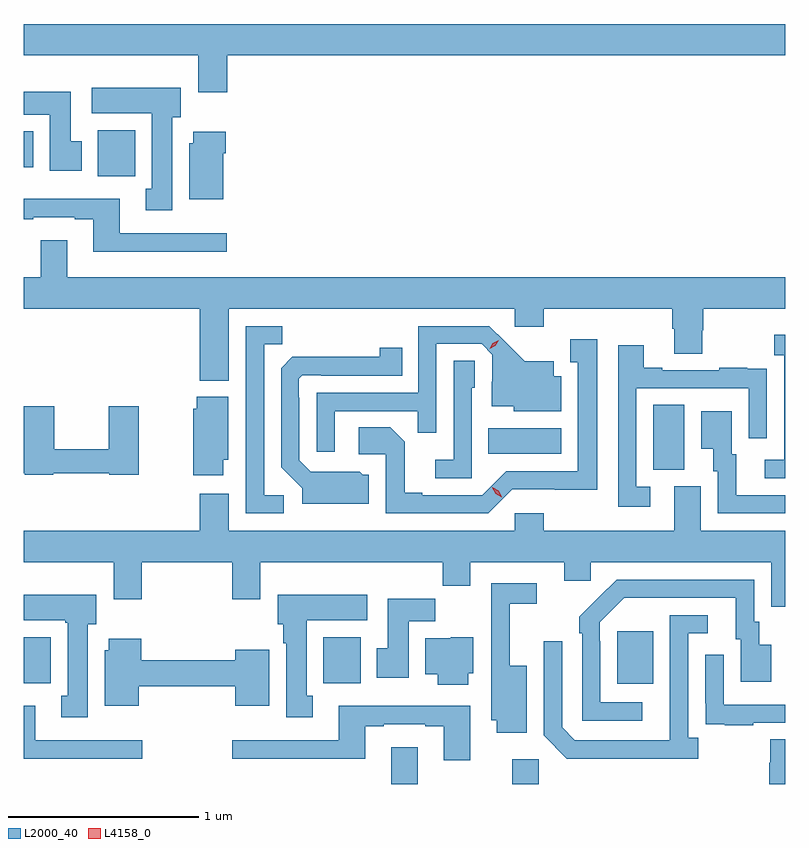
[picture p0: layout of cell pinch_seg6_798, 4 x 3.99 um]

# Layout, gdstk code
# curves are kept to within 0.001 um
import gdstk
lib = gdstk.Library(unit=1e-6, precision=1e-09)
def R(c, l, rs):  # rectangles x0, y0, x1, y1
    for r in rs: c.add(gdstk.rectangle(r[:2], r[2:], *l))
def P(c, l, *ps):  # polygons
    for p in ps: c.add(gdstk.Polygon(p, *l))
L2000_40 = (2000, 40)
L4158_0 = (4158, 0)

pinch_seg6_798 = lib.new_cell('pinch_seg6_798')
R(pinch_seg6_798, L2000_40, [(149.735,970.146,149.875,970.339), (150.371,970.146,150.51,970.276), (150.923,970.673,151.111,970.948), (147.805,970.676,147.946,970.918), (149.378,970.676,149.575,970.918), (151.112,971.797,151.276,972.14), (150.244,971.882,150.628,972.016), (148.193,973.34,148.39,973.582), (147.805,973.388,147.853,973.576)])
P(pinch_seg6_798, L2000_40, [(148.874,973.976),(151.805,973.976),(151.805,974.14),(147.805,974.14),(147.805,973.976),(148.721,973.976),(148.721,973.782),(148.874,973.782)],
  [(148.585,973.65),(148.63,973.65),(148.63,973.804),(148.161,973.804),(148.161,973.67),(148.478,973.67),(148.478,973.274),(148.445,973.274),(148.445,973.161),(148.585,973.161)],
  [(148.108,973.524),(148.051,973.524),(148.051,973.783),(147.805,973.783),(147.805,973.664),(147.941,973.664),(147.941,973.368),(148.108,973.368)],
  [(148.852,973.46),(148.865,973.46),(148.865,973.573),(148.694,973.573),(148.694,973.512),(148.673,973.512),(148.673,973.22),(148.852,973.22)],
  [(148.87,973.041),(148.309,973.041),(148.309,973.222),(147.805,973.222),(147.805,973.113),(147.853,973.113),(147.853,973.125),(148.073,973.125),(148.073,973.113),(148.169,973.113),(148.169,972.944),(148.87,972.944)],
  [(148.882,972.644),(150.384,972.644),(150.384,972.549),(150.536,972.549),(150.536,972.644),(151.211,972.644),(151.211,972.538),(151.223,972.538),(151.223,972.406),(151.371,972.406),(151.371,972.531),(151.376,972.531),(151.376,972.644),(151.805,972.644),(151.805,972.808),(148.033,972.808),(148.033,973.003),(147.893,973.003),(147.893,972.808),(147.805,972.808),(147.805,972.644),(148.73,972.644),(148.73,972.266),(148.882,972.266)],
  [(149.17,971.664),(149.067,971.664),(149.067,972.457),(149.163,972.457),(149.163,972.552),(148.971,972.552),(148.971,971.568),(149.17,971.568)],
  [(149.439,972.105),(149.875,972.105),(149.875,971.992),(149.973,971.992),(149.973,972.459),(150.21,972.459),(150.267,972.402),(150.267,972.26),(150.263,972.26),(150.263,972.131),(150.378,972.131),(150.378,972.104),(150.628,972.104),(150.628,972.289),(150.589,972.289),(150.589,972.367),(150.437,972.367),(150.25,972.552),(149.877,972.552),(149.877,972.201),(149.343,972.201),(149.343,971.892),(149.439,971.892)],
  [(151.805,972.508),(151.749,972.508),(151.749,972.398),(151.8,972.398),(151.8,971.85),(151.698,971.85),(151.698,971.754),(151.805,971.754)],
  [(150.372,971.694),(150.817,971.693),(150.817,972.484),(150.677,972.484),(150.677,972.363),(150.716,972.363),(150.716,971.79),(150.339,971.79),(150.213,971.664),(149.899,971.664),(149.899,971.677),(149.805,971.677),(149.805,971.944),(149.729,972.02),(149.565,972.02),(149.565,971.88),(149.706,971.88),(149.706,971.568),(150.246,971.568)],
  [(151.096,971.709),(151.023,971.709),(151.023,972.225),(151.614,972.225),(151.614,971.964),(151.71,971.964),(151.71,972.218),(151.709,972.218),(151.709,972.327),(151.607,972.327),(151.607,972.334),(151.459,972.334),(151.459,972.321),(151.159,972.321),(151.159,972.334),(151.063,972.334),(151.063,972.451),(150.927,972.451),(150.927,971.604),(151.096,971.604)],
  [(149.617,971.772),(149.586,971.772),(149.57,971.788),(149.313,971.787),(149.253,971.847),(149.253,972.176),(149.25,972.176),(149.25,972.276),(149.268,972.294),(149.368,972.294),(149.368,972.291),(149.792,972.291),(149.792,972.439),(149.674,972.439),(149.674,972.392),(149.216,972.391),(149.157,972.332),(149.157,971.81),(149.267,971.7),(149.267,971.618),(149.617,971.618)],
  [(150.159,972.228),(150.174,972.228),(150.174,972.371),(150.063,972.371),(150.063,971.851),(149.967,971.851),(149.967,971.754),(150.159,971.754)],
  [(148.852,971.85),(148.879,971.85),(148.879,972.181),(148.712,972.181),(148.712,972.117),(148.694,972.117),(148.694,971.769),(148.852,971.769)],
  [(147.96,971.778),(148.254,971.778),(148.254,971.77),(148.408,971.77),(148.408,972.13),(148.25,972.13),(148.25,971.906),(147.964,971.906),(147.964,972.13),(147.805,972.13),(147.805,971.778),(147.81,971.778),(147.81,971.77),(147.96,971.77)],
  [(151.805,971.664),(151.549,971.664),(151.549,971.88),(151.525,971.88),(151.525,972.106),(151.364,972.106),(151.364,971.909),(151.427,971.909),(151.427,971.79),(151.452,971.79),(151.452,971.568),(151.805,971.568)],
  [(147.805,971.312),(148.277,971.312),(148.277,971.118),(148.425,971.118),(148.425,971.312),(148.9,971.312),(148.9,971.118),(149.047,971.118),(149.047,971.312),(150.007,971.312),(150.007,971.188),(150.151,971.188),(150.151,971.312),(150.644,971.312),(150.644,971.214),(150.783,971.214),(150.783,971.312),(151.733,971.312),(151.733,971.077),(151.805,971.077),(151.805,971.476),(151.363,971.476),(151.363,971.712),(151.223,971.712),(151.223,971.476),(150.536,971.476),(150.536,971.569),(150.384,971.569),(150.384,971.476),(148.882,971.476),(148.882,971.671),(148.73,971.671),(148.73,971.476),(147.805,971.476)],
  [(151.054,970.575),(150.834,970.575),(150.834,970.895),(150.831,970.895),(150.831,970.995),(150.96,971.124),(151.547,971.124),(151.547,970.908),(151.571,970.908),(151.571,970.683),(151.732,970.683),(151.732,970.879),(151.669,970.879),(151.669,970.998),(151.644,970.998),(151.644,971.22),(150.92,971.22),(150.723,971.025),(150.723,970.937),(150.738,970.937),(150.738,970.479),(151.054,970.479)],
  [(150.448,970.768),(150.359,970.768),(150.359,971.094),(150.499,971.094),(150.499,971.202),(150.261,971.202),(150.261,970.481),(150.29,970.481),(150.29,970.416),(150.448,970.416)],
  [(149.323,970.61),(149.29,970.61),(149.29,971.006),(149.608,971.006),(149.608,971.14),(149.138,971.14),(149.138,970.986),(149.168,970.986),(149.168,970.886),(149.183,970.886),(149.183,970.497),(149.323,970.497)],
  [(148.141,970.986),(148.186,970.986),(148.186,971.14),(147.805,971.14),(147.805,971.006),(148.021,971.006),(148.021,970.993),(148.034,970.993),(148.034,970.61),(148.001,970.61),(148.001,970.497),(148.141,970.497)],
  [(149.827,971),(149.966,971),(149.966,971.119),(149.717,971.119),(149.717,970.86),(149.66,970.86),(149.66,970.704),(149.827,970.704)],
  [(151.348,970.39),(151.296,970.39),(151.296,970.938),(151.399,970.938),(151.399,971.034),(151.2,971.034),(151.199,970.377),(150.699,970.377),(150.633,970.443),(150.633,970.897),(150.537,970.897),(150.537,970.401),(150.658,970.28),(151.348,970.28)],
  [(150.139,970.728),(150.166,970.728),(150.166,970.918),(150.048,970.918),(150.048,970.912),(149.915,970.912),(149.915,970.724),(149.981,970.724),(149.981,970.667),(150.139,970.667)],
  [(148.408,970.66),(148.916,970.66),(148.916,970.556),(149.095,970.556),(149.095,970.852),(148.916,970.852),(148.916,970.796),(148.421,970.796),(148.421,970.909),(148.25,970.909),(148.25,970.848),(148.229,970.848),(148.229,970.556),(148.408,970.556)],
  [(151.637,970.467),(151.805,970.467),(151.805,970.563),(151.482,970.563),(151.482,970.825),(151.386,970.825),(151.386,970.57),(151.387,970.57),(151.387,970.461),(151.489,970.461),(151.489,970.455),(151.637,970.455)],
  [(148.426,970.377),(147.865,970.377),(147.865,970.558),(147.805,970.558),(147.805,970.28),(148.426,970.28)],
  [(150.151,970.558),(149.459,970.558),(149.459,970.377),(148.899,970.377),(148.899,970.28),(149.599,970.28),(149.599,970.449),(149.695,970.449),(149.695,970.461),(149.915,970.461),(149.915,970.449),(150.011,970.449),(150.011,970.272),(150.151,970.272)],
  [(151.805,970.382),(151.726,970.382),(151.726,970.257),(151.721,970.257),(151.721,970.146),(151.805,970.146)])
P(pinch_seg6_798, L4158_0, [(150.317,971.653),(150.285,971.672),(150.267,971.704),(150.267,971.705),(150.267,971.705),(150.299,971.686),(150.317,971.654),(150.317,971.653)],
  [(150.252,972.433),(150.252,972.434),(150.269,972.463),(150.299,972.479),(150.3,972.479),(150.3,972.479),(150.283,972.449),(150.253,972.433)])

lib.write_gds('pinch_seg6_798.gds')
